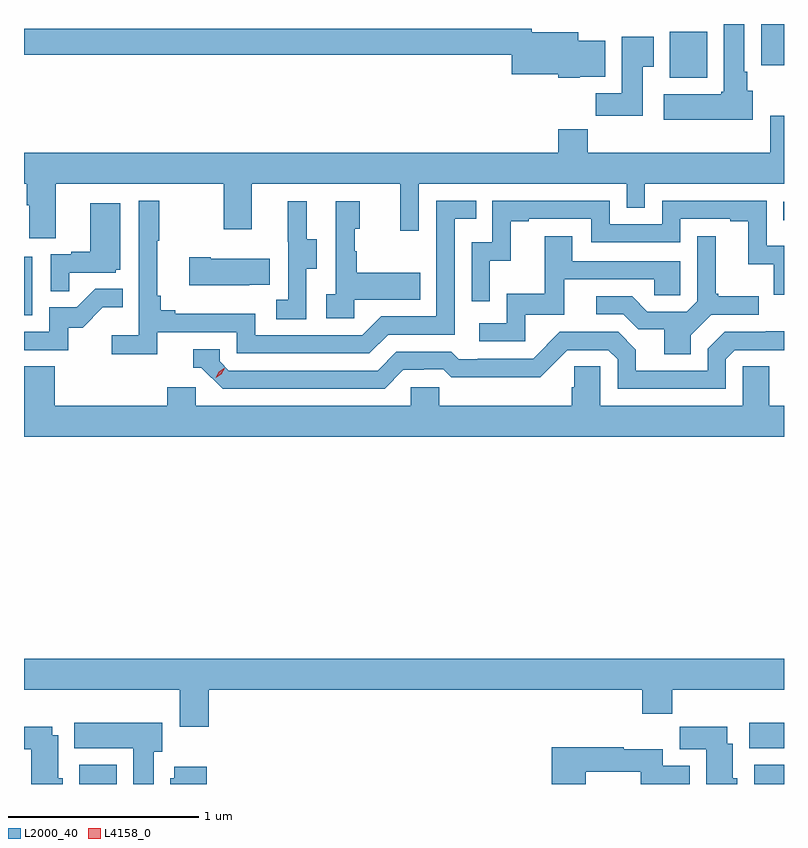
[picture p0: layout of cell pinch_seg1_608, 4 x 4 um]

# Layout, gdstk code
import gdstk
lib = gdstk.Library(unit=1e-6, precision=1e-09)
def R(c, l, rs):  # rectangles x0, y0, x1, y1
    for r in rs: c.add(gdstk.rectangle(r[:2], r[2:], *l))
def P(c, l, *ps):  # polygons
    for p in ps: c.add(gdstk.Polygon(p, *l))
L2000_40 = (2000, 40)
L4158_0 = (4158, 0)

pinch_seg1_608 = lib.new_cell('pinch_seg1_608')
R(pinch_seg1_608, L2000_40, [(1113.671,515.273,1113.868,515.374), (1117.223,515.273,1117.38,515.374), (1117.196,515.462,1117.38,515.596), (1113.38,517.74,1113.424,518.047), (1117.375,518.24,1117.38,518.337), (1116.779,518.99,1116.976,519.232), (1117.259,519.056,1117.38,519.273)])
P(pinch_seg1_608, L2000_40, [(1117.216,518.922),(1117.186,518.922),(1117.186,519.022),(1117.171,519.022),(1117.171,519.273),(1117.064,519.273),(1117.064,518.916),(1117.051,518.916),(1117.051,518.902),(1116.747,518.902),(1116.747,518.768),(1117.216,518.768)],
  [(1116.306,518.996),(1116.439,518.996),(1116.439,519.184),(1116.298,519.184),(1116.298,519.229),(1116.052,519.229),(1116.052,519.248),(1113.38,519.248),(1113.38,519.112),(1115.948,519.112),(1115.948,519.008),(1116.192,519.008),(1116.192,518.99),(1116.306,518.99)],
  [(1116.637,519.049),(1116.694,519.049),(1116.694,519.205),(1116.527,519.205),(1116.527,518.908),(1116.388,518.908),(1116.388,518.79),(1116.637,518.79)],
  [(1113.547,518.432),(1114.432,518.432),(1114.432,518.193),(1114.579,518.193),(1114.579,518.432),(1115.36,518.432),(1115.36,518.184),(1115.457,518.184),(1115.457,518.432),(1116.552,518.432),(1116.552,518.305),(1116.648,518.305),(1116.648,518.432),(1117.38,518.432),(1117.38,518.791),(1117.307,518.791),(1117.307,518.596),(1116.347,518.596),(1116.347,518.72),(1116.191,518.72),(1116.191,518.596),(1113.38,518.596),(1113.38,518.432),(1113.395,518.432),(1113.395,518.32),(1113.407,518.32),(1113.407,518.146),(1113.547,518.146)],
  [(1114.082,517.65),(1114.5,517.65),(1114.5,517.539),(1115.197,517.539),(1115.296,517.638),(1115.646,517.638),(1115.646,518.247),(1115.759,518.247),(1115.759,518.343),(1115.55,518.343),(1115.55,517.734),(1115.259,517.734),(1115.16,517.635),(1114.596,517.635),(1114.596,517.747),(1114.177,517.747),(1114.177,517.766),(1114.1,517.766),(1114.1,517.843),(1114.081,517.843),(1114.081,518.131),(1114.093,518.131),(1114.093,518.344),(1113.984,518.344),(1113.984,517.636),(1113.843,517.636),(1113.843,517.534),(1114.082,517.534)],
  [(1115.832,518.027),(1115.942,518.027),(1115.942,518.235),(1116.037,518.235),(1116.037,518.247),(1116.366,518.247),(1116.366,518.124),(1116.834,518.124),(1116.834,518.247),(1117.097,518.247),(1117.097,518.235),(1117.193,518.235),(1117.193,518.009),(1117.326,518.009),(1117.326,517.848),(1117.38,517.848),(1117.38,518.107),(1117.29,518.107),(1117.29,518.343),(1116.738,518.343),(1116.738,518.22),(1116.462,518.22),(1116.462,518.343),(1115.844,518.343),(1115.844,518.124),(1115.736,518.124),(1115.736,517.815),(1115.832,517.815)],
  [(1114.866,517.984),(1114.921,517.984),(1114.921,518.139),(1114.867,518.139),(1114.867,518.341),(1114.769,518.341),(1114.769,518.127),(1114.77,518.127),(1114.77,517.823),(1114.707,517.823),(1114.707,517.72),(1114.866,517.72)],
  [(1115.118,517.823),(1115.465,517.823),(1115.465,517.963),(1115.131,517.963),(1115.131,518.078),(1115.121,518.078),(1115.121,518.196),(1115.146,518.196),(1115.146,518.341),(1115.022,518.341),(1115.022,517.85),(1114.971,517.85),(1114.971,517.725),(1115.118,517.725)],
  [(1113.617,517.965),(1113.864,517.965),(1113.864,517.98),(1113.886,517.98),(1113.886,518.329),(1113.728,518.329),(1113.728,518.074),(1113.629,518.074),(1113.629,518.061),(1113.522,518.061),(1113.522,517.867),(1113.617,517.867)],
  [(1116.018,517.743),(1116.223,517.743),(1116.223,517.929),(1116.697,517.929),(1116.697,517.845),(1116.834,517.845),(1116.834,518.025),(1116.265,518.025),(1116.265,518.155),(1116.121,518.155),(1116.121,517.852),(1115.922,517.852),(1115.922,517.698),(1115.775,517.698),(1115.775,517.602),(1116.018,517.602)],
  [(1116.889,517.636),(1116.996,517.743),(1117.246,517.743),(1117.246,517.84),(1117.033,517.84),(1117.033,517.852),(1117.021,517.852),(1117.021,518.155),(1116.924,518.155),(1116.924,517.815),(1116.867,517.758),(1116.661,517.758),(1116.58,517.839),(1116.393,517.839),(1116.393,517.746),(1116.534,517.746),(1116.614,517.666),(1116.749,517.666),(1116.749,517.534),(1116.889,517.534)],
  [(1114.565,517.901),(1114.673,517.901),(1114.673,518.038),(1114.363,518.038),(1114.363,518.046),(1114.251,518.046),(1114.251,517.898),(1114.565,517.898)],
  [(1113.612,517.674),(1113.688,517.674),(1113.795,517.781),(1113.899,517.781),(1113.899,517.88),(1113.755,517.88),(1113.657,517.782),(1113.513,517.782),(1113.513,517.653),(1113.38,517.653),(1113.38,517.557),(1113.612,517.557)],
  [(1115.377,517.452),(1115.484,517.452),(1115.484,517.455),(1115.587,517.455),(1115.629,517.413),(1115.862,517.413),(1115.862,517.415),(1116.098,517.415),(1116.24,517.557),(1116.456,517.557),(1116.504,517.509),(1116.504,517.353),(1117.074,517.353),(1117.074,517.509),(1117.122,517.557),(1117.38,517.557),(1117.38,517.655),(1117.284,517.655),(1117.284,517.653),(1117.068,517.653),(1116.978,517.563),(1116.978,517.449),(1116.601,517.449),(1116.601,517.559),(1116.507,517.653),(1116.201,517.653),(1116.06,517.512),(1115.767,517.512),(1115.767,517.509),(1115.668,517.509),(1115.629,517.548),(1115.34,517.548),(1115.241,517.449),(1114.458,517.449),(1114.41,517.497),(1114.41,517.56),(1114.271,517.56),(1114.271,517.464),(1114.314,517.464),(1114.425,517.353),(1115.278,517.353)],
  [(1117.38,517.264),(1117.303,517.264),(1117.303,517.472),(1117.164,517.472),(1117.164,517.264),(1116.414,517.264),(1116.414,517.472),(1116.277,517.472),(1116.277,517.362),(1116.263,517.362),(1116.263,517.264),(1115.565,517.264),(1115.565,517.362),(1115.415,517.362),(1115.415,517.264),(1114.284,517.264),(1114.284,517.362),(1114.133,517.362),(1114.133,517.264),(1113.542,517.264),(1113.542,517.472),(1113.38,517.472),(1113.38,517.1),(1117.38,517.1)],
  [(1114.352,515.768),(1116.635,515.768),(1116.635,515.644),(1116.791,515.644),(1116.791,515.768),(1117.38,515.768),(1117.38,515.932),(1113.38,515.932),(1113.38,515.768),(1114.199,515.768),(1114.199,515.574),(1114.352,515.574)],
  [(1114.063,515.442),(1114.108,515.442),(1114.108,515.596),(1113.644,515.596),(1113.644,515.462),(1113.956,515.462),(1113.956,515.273),(1114.063,515.273)],
  [(1117.135,515.304),(1117.111,515.304),(1117.111,515.485),(1117.081,515.485),(1117.081,515.575),(1116.832,515.575),(1116.832,515.456),(1116.971,515.456),(1116.971,515.273),(1117.135,515.273)],
  [(1113.583,515.304),(1113.559,515.304),(1113.559,515.53),(1113.529,515.53),(1113.529,515.575),(1113.38,515.575),(1113.38,515.456),(1113.419,515.456),(1113.419,515.273),(1113.583,515.273)],
  [(1116.336,515.338),(1116.625,515.338),(1116.625,515.273),(1116.883,515.273),(1116.883,515.368),(1116.742,515.368),(1116.742,515.456),(1116.536,515.456),(1116.536,515.467),(1116.158,515.467),(1116.158,515.273),(1116.336,515.273)],
  [(1114.343,515.365),(1114.172,515.365),(1114.172,515.304),(1114.151,515.304),(1114.151,515.273),(1114.343,515.273)])
P(pinch_seg1_608, L4158_0, [(1114.388,517.41),(1114.388,517.41),(1114.404,517.442),(1114.435,517.462),(1114.436,517.462),(1114.436,517.461),(1114.419,517.429),(1114.388,517.41)])

lib.write_gds('pinch_seg1_608.gds')
